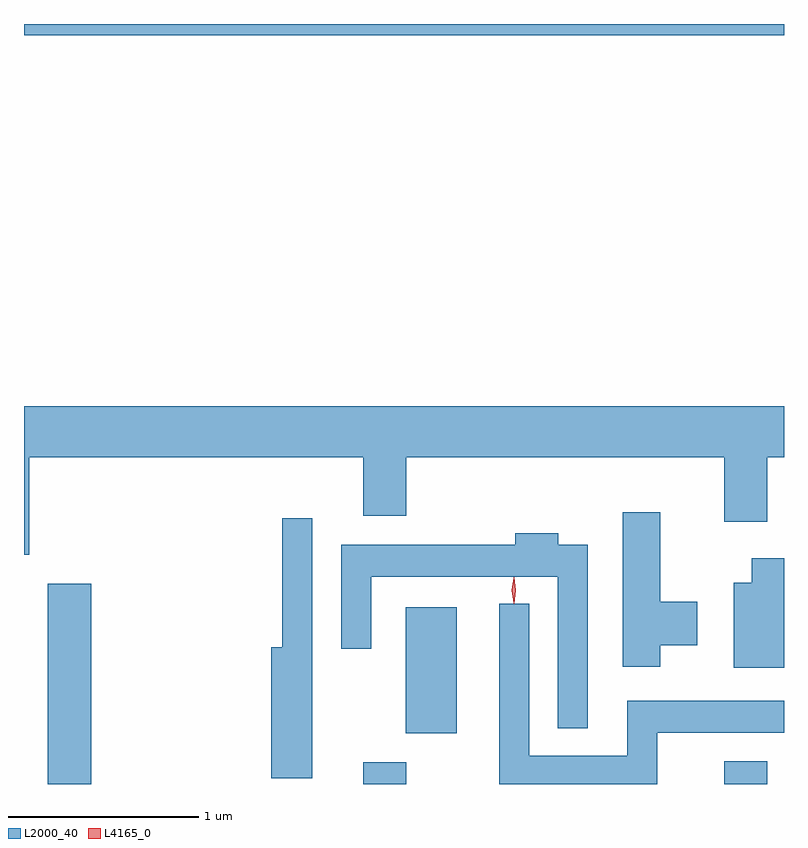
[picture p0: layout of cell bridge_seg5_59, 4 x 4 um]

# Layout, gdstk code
import gdstk
lib = gdstk.Library(unit=1e-6, precision=1e-09)
def R(c, l, rs):  # rectangles x0, y0, x1, y1
    for r in rs: c.add(gdstk.rectangle(r[:2], r[2:], *l))
def P(c, l, *ps):  # polygons
    for p in ps: c.add(gdstk.Polygon(p, *l))
L2000_40 = (2000, 40)
L4165_0 = (4165, 0)

bridge_seg5_59 = lib.new_cell('bridge_seg5_59')
R(bridge_seg5_59, L2000_40, [(1300.071,1470.615,1300.299,1471.669), (1301.731,1470.615,1301.959,1470.729), (1303.631,1470.615,1303.859,1470.734), (1301.956,1470.881,1302.224,1471.544), (1299.946,1474.556,1303.946,1474.615)])
P(bridge_seg5_59, L2000_40, [(1299.946,1471.821),(1299.974,1471.821),(1299.974,1472.336),(1301.731,1472.336),(1301.731,1472.026),(1301.959,1472.026),(1301.959,1472.336),(1303.631,1472.336),(1303.631,1471.996),(1303.859,1471.996),(1303.859,1472.336),(1303.946,1472.336),(1303.946,1472.604),(1299.946,1472.604)],
  [(1303.294,1471.346),(1303.489,1471.346),(1303.489,1471.574),(1303.294,1471.574),(1303.294,1472.044),(1303.096,1472.044),(1303.096,1471.231),(1303.294,1471.231)],
  [(1301.464,1472.013),(1301.306,1472.013),(1301.306,1471.334),(1301.246,1471.334),(1301.246,1470.646),(1301.464,1470.646)],
  [(1302.914,1471.874),(1302.759,1471.874),(1302.759,1471.934),(1302.531,1471.934),(1302.531,1471.874),(1301.616,1471.874),(1301.616,1471.328),(1301.774,1471.328),(1301.774,1471.706),(1302.756,1471.706),(1302.756,1470.908),(1302.914,1470.908)],
  [(1303.946,1471.804),(1303.776,1471.804),(1303.776,1471.674),(1303.681,1471.674),(1303.681,1471.226),(1303.946,1471.226)],
  [(1303.279,1470.886),(1303.946,1470.886),(1303.946,1471.054),(1303.121,1471.054),(1303.121,1470.764),(1302.604,1470.764),(1302.604,1471.563),(1302.446,1471.563),(1302.446,1470.615),(1303.279,1470.615)])
P(bridge_seg5_59, L4165_0, [(1302.524,1471.564),(1302.515,1471.634),(1302.524,1471.702),(1302.525,1471.703),(1302.525,1471.702),(1302.535,1471.634),(1302.525,1471.564),(1302.525,1471.564)],
  [(1302.524,1471.567),(1302.524,1471.568),(1302.514,1471.634),(1302.524,1471.7),(1302.524,1471.7),(1302.525,1471.7),(1302.534,1471.634),(1302.525,1471.568)])

lib.write_gds('bridge_seg5_59.gds')
